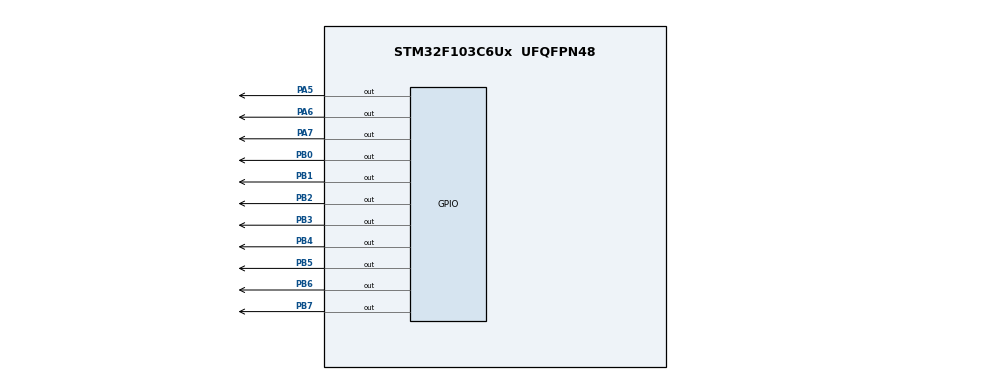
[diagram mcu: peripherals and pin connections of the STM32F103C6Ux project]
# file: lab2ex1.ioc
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Mcu.Family=STM32F1
Mcu.Name=STM32F103C6Ux
Mcu.Package=UFQFPN48
NVIC.PriorityGroup=NVIC_PRIORITYGROUP_4
NVIC.TIM2_IRQn=true\:0\:0\:false\:false\:true\:true\:true
PA5.Signal=GPIO_Output
PA6.Signal=GPIO_Output
PA7.Signal=GPIO_Output
PB0.Signal=GPIO_Output
PB1.Signal=GPIO_Output
PB2.Signal=GPIO_Output
PB3.Signal=GPIO_Output
PB4.Signal=GPIO_Output
PB5.Signal=GPIO_Output
PB6.Signal=GPIO_Output
PB7.Signal=GPIO_Output
ProjectManager.HeapSize=0x200
ProjectManager.StackSize=0x400
ProjectManager.TargetToolchain=STM32CubeIDE
RCC.APB1Freq_Value=8000000
RCC.APB2Freq_Value=8000000
TIM2.Period=9
TIM2.Prescaler=7999
VP_SYS_VS_ND.Mode=No_Debug
VP_TIM2_VS_ClockSourceINT.Mode=Internal
board=custom

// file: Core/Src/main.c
/* USER CODE BEGIN Header */
/**
  ******************************************************************************
  * @file           : main.c
  * @brief          : Main program body
  ******************************************************************************
  * @attention
  *
  * <h2><center>&copy; Copyright (c) 2026 STMicroelectronics.
  * All rights reserved.</center></h2>
  *
  * This software component is licensed by ST under BSD 3-Clause license,
  * the "License"; You may not use this file except in compliance with the
  * License. You may obtain a copy of the License at:
  *                        opensource.org/licenses/BSD-3-Clause
  *
  ******************************************************************************
  */
/* USER CODE END Header */
#include "main.h"

TIM_HandleTypeDef htim2;

/* USER CODE BEGIN PV */
int counter = 50; // 50 * 10ms = 500ms (0.5 giây chuyển đổi)
int status = 0;  // Trạng thái bật LED 1 hoặc LED 2
/* USER CODE END PV */

void SystemClock_Config(void);
static void MX_GPIO_Init(void);
static void MX_TIM2_Init(void);
/* USER CODE BEGIN PFP */
void display7SEG(int num);
/* USER CODE END PFP */

/* USER CODE BEGIN 0 */
// Hàm hiển thị số 0-9 lên LED 7-đoạn loại Anode chung (0 là SÁNG, 1 là TẮT)
void display7SEG(int num) {
    uint8_t seg_code[10] = {
        0xC0, // 0
        0xF9, // 1
        0xA4, // 2
        0xB0, // 3
        0x99, // 4
        0x92, // 5
        0x82, // 6
        0xF8, // 7
        0x80, // 8
        0x90  // 9
    };
    if (num >= 0 && num <= 9) {
        uint8_t code = seg_code[num];
        for (int i = 0; i < 7; i++) {
            HAL_GPIO_WritePin(GPIOB, (GPIO_PIN_0 << i), (code & (1 << i)) ? GPIO_PIN_SET : GPIO_PIN_RESET);
        }
    }
}
/* USER CODE END 0 */

int main(void)
{

  /* MCU Configuration--------------------------------------------------------*/

  /* Reset of all peripherals, Initializes the Flash interface and the Systick. */
  HAL_Init();

  /* Configure the system clock */
  SystemClock_Config();

  /* Initialize all configured peripherals */
  MX_GPIO_Init();
  MX_TIM2_Init();
  /* USER CODE BEGIN 2 */
  // Kích hoạt ngắt Timer 2
  HAL_TIM_Base_Start_IT(&htim2);
  /* USER CODE END 2 */

  /* Infinite loop */
  while (1)
  {

  }
}

void SystemClock_Config(void)
{
  RCC_OscInitTypeDef RCC_OscInitStruct = {0};
  RCC_ClkInitTypeDef RCC_ClkInitStruct = {0};

  /** Initializes the RCC Oscillators according to the specified parameters
  * in the RCC_OscInitTypeDef structure.
  */
  RCC_OscInitStruct.OscillatorType = RCC_OSCILLATORTYPE_HSI;
  RCC_OscInitStruct.HSIState = RCC_HSI_ON;
  RCC_OscInitStruct.HSICalibrationValue = RCC_HSICALIBRATION_DEFAULT;
  RCC_OscInitStruct.PLL.PLLState = RCC_PLL_NONE;
  if (HAL_RCC_OscConfig(&RCC_OscInitStruct) != HAL_OK)
  {
    Error_Handler();
  }
  /** Initializes the CPU, AHB and APB buses clocks
  */
  RCC_ClkInitStruct.ClockType = RCC_CLOCKTYPE_HCLK|RCC_CLOCKTYPE_SYSCLK
                              |RCC_CLOCKTYPE_PCLK1|RCC_CLOCKTYPE_PCLK2;
  RCC_ClkInitStruct.SYSCLKSource = RCC_SYSCLKSOURCE_HSI;
  RCC_ClkInitStruct.AHBCLKDivider = RCC_SYSCLK_DIV1;
  RCC_ClkInitStruct.APB1CLKDivider = RCC_HCLK_DIV1;
  RCC_ClkInitStruct.APB2CLKDivider = RCC_HCLK_DIV1;

  if (HAL_RCC_ClockConfig(&RCC_ClkInitStruct, FLASH_LATENCY_0) != HAL_OK)
  {
    Error_Handler();
  }
}

static void MX_TIM2_Init(void)
{

  TIM_ClockConfigTypeDef sClockSourceConfig = {0};
  TIM_MasterConfigTypeDef sMasterConfig = {0};

  htim2.Instance = TIM2;
  htim2.Init.Prescaler = 7999;
  htim2.Init.CounterMode = TIM_COUNTERMODE_UP;
  htim2.Init.Period = 9;
  htim2.Init.ClockDivision = TIM_CLOCKDIVISION_DIV1;
  htim2.Init.AutoReloadPreload = TIM_AUTORELOAD_PRELOAD_DISABLE;
  if (HAL_TIM_Base_Init(&htim2) != HAL_OK)
  {
    Error_Handler();
  }
  sClockSourceConfig.ClockSource = TIM_CLOCKSOURCE_INTERNAL;
  if (HAL_TIM_ConfigClockSource(&htim2, &sClockSourceConfig) != HAL_OK)
  {
    Error_Handler();
  }
  sMasterConfig.MasterOutputTrigger = TIM_TRGO_RESET;
  sMasterConfig.MasterSlaveMode = TIM_MASTERSLAVEMODE_DISABLE;
  if (HAL_TIMEx_MasterConfigSynchronization(&htim2, &sMasterConfig) != HAL_OK)
  {
    Error_Handler();
  }

}

static void MX_GPIO_Init(void)
{
  GPIO_InitTypeDef GPIO_InitStruct = {0};

  /* GPIO Ports Clock Enable */
  __HAL_RCC_GPIOA_CLK_ENABLE();
  __HAL_RCC_GPIOB_CLK_ENABLE();

  /*Configure GPIO pin Output Level */
  HAL_GPIO_WritePin(GPIOA, GPIO_PIN_5|GPIO_PIN_6|GPIO_PIN_7, GPIO_PIN_RESET);

  /*Configure GPIO pin Output Level */
  HAL_GPIO_WritePin(GPIOB, GPIO_PIN_0|GPIO_PIN_1|GPIO_PIN_2|GPIO_PIN_3
                          |GPIO_PIN_4|GPIO_PIN_5|GPIO_PIN_6|GPIO_PIN_7, GPIO_PIN_RESET);

  /*Configure GPIO pins : PA5 PA6 PA7 */
  GPIO_InitStruct.Pin = GPIO_PIN_5|GPIO_PIN_6|GPIO_PIN_7;
  GPIO_InitStruct.Mode = GPIO_MODE_OUTPUT_PP;
  GPIO_InitStruct.Pull = GPIO_NOPULL;
  GPIO_InitStruct.Speed = GPIO_SPEED_FREQ_LOW;
  HAL_GPIO_Init(GPIOA, &GPIO_InitStruct);

  /*Configure GPIO pins : PB0 PB1 PB2 PB3
                           PB4 PB5 PB6 PB7 */
  GPIO_InitStruct.Pin = GPIO_PIN_0|GPIO_PIN_1|GPIO_PIN_2|GPIO_PIN_3
                          |GPIO_PIN_4|GPIO_PIN_5|GPIO_PIN_6|GPIO_PIN_7;
  GPIO_InitStruct.Mode = GPIO_MODE_OUTPUT_PP;
  GPIO_InitStruct.Pull = GPIO_NOPULL;
  GPIO_InitStruct.Speed = GPIO_SPEED_FREQ_LOW;
  HAL_GPIO_Init(GPIOB, &GPIO_InitStruct);

}

/* USER CODE BEGIN 4 */
// Trình phục vụ ngắt của Timer
void HAL_TIM_PeriodElapsedCallback(TIM_HandleTypeDef *htim) {
    if (htim->Instance == TIM2) {
        counter--;
        if (counter <= 0) {
            counter = 50; // Reset lại đếm 500ms

            if (status == 0) {
                // Bật LED 1 (PA6 active LOW), Tắt LED 2 (PA7 HIGH)
                HAL_GPIO_WritePin(GPIOA, GPIO_PIN_6, GPIO_PIN_RESET);
                HAL_GPIO_WritePin(GPIOA, GPIO_PIN_7, GPIO_PIN_SET);
                display7SEG(1); // Hiển thị số 1
                status = 1;
            } else {
                // Tắt LED 1 (PA6 HIGH), Bật LED 2 (PA7 active LOW)
                HAL_GPIO_WritePin(GPIOA, GPIO_PIN_6, GPIO_PIN_SET);
                HAL_GPIO_WritePin(GPIOA, GPIO_PIN_7, GPIO_PIN_RESET);
                display7SEG(2); // Hiển thị số 2
                status = 0;
            }
        }
    }
}
/* USER CODE END 4 */

void Error_Handler(void)
{
  __disable_irq();
  while (1)
  {
  }
}
